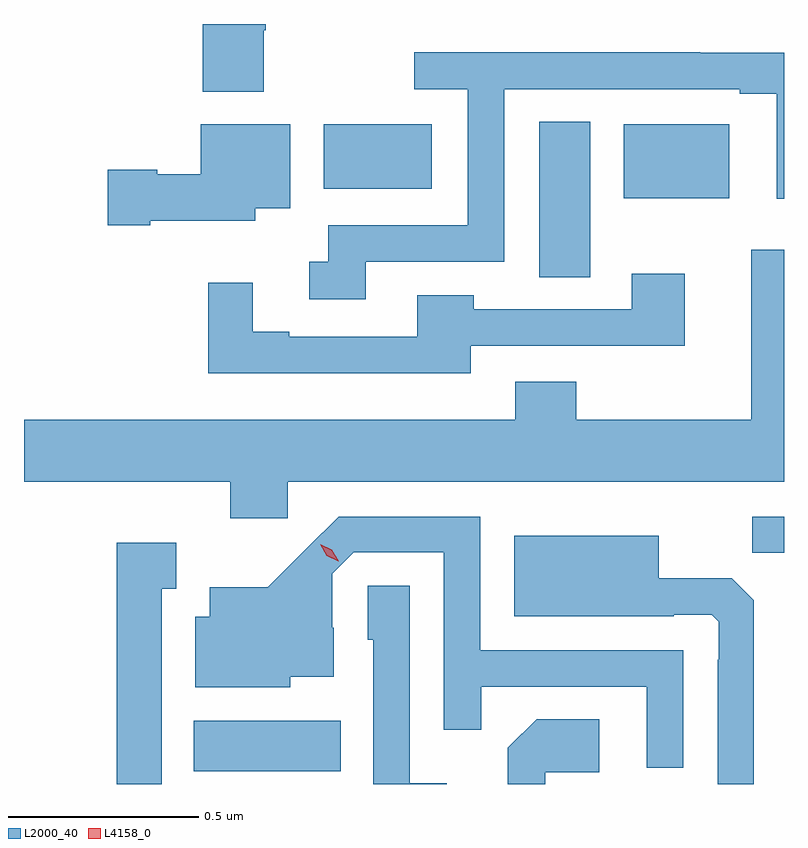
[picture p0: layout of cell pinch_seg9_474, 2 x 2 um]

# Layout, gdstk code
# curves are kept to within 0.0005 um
import gdstk
lib = gdstk.Library(unit=1e-6, precision=1e-09)
def R(c, l, rs):  # rectangles x0, y0, x1, y1
    for r in rs: c.add(gdstk.rectangle(r[:2], r[2:], *l))
def P(c, l, *ps):  # polygons
    for p in ps: c.add(gdstk.Polygon(p, *l))
L2000_40 = (2000, 40)
L4158_0 = (4158, 0)

pinch_seg9_474 = lib.new_cell('pinch_seg9_474')
R(pinch_seg9_474, L2000_40, [(256.583,1182.338,256.97,1182.472), (258.052,1182.913,258.136,1183.008), (257.492,1183.639,257.626,1184.048), (257.714,1183.847,257.992,1184.041), (256.925,1183.871,257.209,1184.041)])
P(pinch_seg9_474, L2000_40, [(256.767,1184.288),(256.772,1184.288),(256.772,1184.305),(256.607,1184.305),(256.607,1184.127),(256.767,1184.127)],
  [(257.035,1183.68),(257.4,1183.68),(257.4,1184.133),(258.02,1184.133),(258.02,1184.121),(258.117,1184.121),(258.117,1183.845),(258.136,1183.845),(258.136,1184.229),(257.915,1184.229),(257.915,1184.231),(257.163,1184.231),(257.163,1184.133),(257.304,1184.133),(257.304,1183.776),(256.937,1183.776),(256.937,1183.679),(256.887,1183.679),(256.887,1183.581),(257.035,1183.581)],
  [(256.468,1183.787),(256.744,1183.787),(256.744,1183.82),(256.837,1183.82),(256.837,1184.041),(256.601,1184.041),(256.601,1183.909),(256.487,1183.909),(256.487,1183.922),(256.356,1183.922),(256.356,1183.775),(256.468,1183.775)],
  [(256.83,1183.1),(258.136,1183.1),(258.136,1183.711),(258.05,1183.711),(258.05,1183.264),(257.589,1183.264),(257.589,1183.363),(257.429,1183.363),(257.429,1183.264),(256.136,1183.264),(256.136,1183.1),(256.679,1183.1),(256.679,1183.005),(256.83,1183.005)],
  [(257.311,1183.458),(257.875,1183.458),(257.875,1183.648),(257.735,1183.648),(257.735,1183.554),(257.319,1183.554),(257.319,1183.591),(257.171,1183.591),(257.171,1183.482),(256.834,1183.482),(256.834,1183.495),(256.738,1183.495),(256.738,1183.624),(256.621,1183.624),(256.621,1183.386),(257.311,1183.386)],
  [(257.871,1182.657),(257.337,1182.657),(257.337,1183.008),(256.964,1183.008),(256.777,1182.823),(256.625,1182.823),(256.625,1182.745),(256.586,1182.745),(256.586,1182.56),(256.836,1182.56),(256.836,1182.587),(256.951,1182.587),(256.951,1182.716),(256.947,1182.716),(256.947,1182.858),(257.004,1182.915),(257.241,1182.915),(257.241,1182.448),(257.339,1182.448),(257.339,1182.561),(257.775,1182.561),(257.775,1182.348),(257.871,1182.348)],
  [(258.057,1182.788),(257.998,1182.847),(257.806,1182.847),(257.806,1182.958),(257.426,1182.958),(257.426,1182.746),(257.846,1182.746),(257.846,1182.75),(257.946,1182.75),(257.964,1182.732),(257.964,1182.632),(257.961,1182.632),(257.961,1182.305),(258.057,1182.305)],
  [(256.498,1182.819),(256.537,1182.819),(256.537,1182.94),(256.38,1182.94),(256.38,1182.305),(256.498,1182.305)],
  [(257.248,1182.307),(257.151,1182.307),(257.151,1182.827),(257.04,1182.827),(257.04,1182.684),(257.055,1182.684),(257.055,1182.305),(257.248,1182.305)],
  [(257.508,1182.336),(257.65,1182.336),(257.65,1182.476),(257.485,1182.476),(257.409,1182.4),(257.409,1182.305),(257.508,1182.305)])
P(pinch_seg9_474, L4158_0, [(256.963,1182.891),(256.933,1182.906),(256.915,1182.936),(256.915,1182.936),(256.916,1182.936),(256.946,1182.921),(256.964,1182.891),(256.964,1182.891)])

lib.write_gds('pinch_seg9_474.gds')
